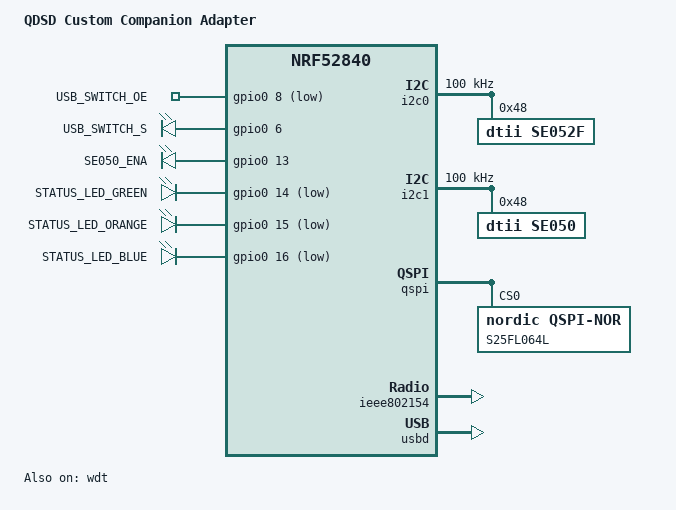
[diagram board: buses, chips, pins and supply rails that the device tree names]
/dts-v1/;

#include <nordic/nrf52840_qiaa.dtsi>
#include "qdsd-pinctrl.dtsi"
#include <zephyr/dt-bindings/input/input-event-codes.h>
#include <zephyr/dt-bindings/gpio/gpio.h>

/ {
	model = "QDSD Custom Companion Adapter";
	compatible = "dtii,qdsd";

	chosen {
		zephyr,sram = &sram0;
		zephyr,flash = &flash0;
		zephyr,code-partition = &slot0_partition;
		zephyr,console = &uart0;
		zephyr,shell-uart = &uart0;
		zephyr,uart-mcumgr = &uart0;
	};

	aliases {

		/* USB data switch — TS3USB221A (U4) */
		usb-oe = &usb_oe;
		usb-s = &usb_s;

		/* Status LED4 — common-anode RGB (LTST-C19FD1WT) */
		status-led-green = &status_led_green;
		status-led-orange = &status_led_orange;
		status-led-blue = &status_led_blue;

		/* SE050 ENA — IC2 pin 11, net SE2_EN */
		se2-en = &se2_en;

		/* Secure elements — I2C buses (see pinctrl header) */
		se052-i2c = &i2c0;
		se05x-i2c = &i2c0;  /* PlugNTrust nano-package alias */
		se050-i2c = &i2c1;

		watchdog0 = &wdt0;
	};

	/* ── GPIO outputs ────────────────────────────────────────────────── */

	gpio_outputs {
		compatible = "gpio-leds";

		usb_oe: usb_oe {
			/*
			 * P0.08 — TS3USB221A ~OE (GPIO_OE), active-LOW.
			 * Physical OE HIGH = switch disabled = USB data path blocked (safe).
			 * Physical OE LOW  = switch enabled  = document-hash path active.
			 */
			gpios = <&gpio0 8 GPIO_ACTIVE_LOW>;
			label = "USB_SWITCH_OE";
		};

		usb_s: usb_s {
			/*
			 * P0.06 — TS3USB221A S (GPIO_SEL), fixed at boot.
			 * LOW  = route to B-port (DSC side per schematic default).
			 * HIGH = route to A-port.
			 */
			gpios = <&gpio0 6 GPIO_ACTIVE_HIGH>;
			label = "USB_SWITCH_S";
		};

		se2_en: se2_en {
			/*
			 * P0.13 — SE050C (IC2) ENA, net SE2_EN, GPIO_ACTIVE_HIGH.
			 * The part stays in power-down until this pin is HIGH.
			 * There is no default pull-up on the schematic; firmware
			 * must drive it before any I2C1 traffic.
			 */
			gpios = <&gpio0 13 GPIO_ACTIVE_HIGH>;
			label = "SE050_ENA";
		};

		status_led_green: status_led_green {
			/* P0.14 — LED4 green channel */
			gpios = <&gpio0 14 GPIO_ACTIVE_LOW>;
			label = "STATUS_LED_GREEN";
		};

		status_led_orange: status_led_orange {
			/* P0.15 — LED4 orange channel */
			gpios = <&gpio0 15 GPIO_ACTIVE_LOW>;
			label = "STATUS_LED_ORANGE";
		};

		status_led_blue: status_led_blue {
			/* P0.16 — LED4 blue channel */
			gpios = <&gpio0 16 GPIO_ACTIVE_LOW>;
			label = "STATUS_LED_BLUE";
		};
	};
};

/* ── SoC peripherals ───────────────────────────────────────────────── */

&wdt {
	status = "okay";
};

&uicr {
	/* RESET button (S2) wired to nRESET — not a readable GPIO */
	gpio-as-nreset;
};

&gpiote {
	status = "okay";
};

&gpio0 {
	status = "okay";
};

&gpio1 {
	status = "okay";
};

/* SE052F (IC1) — subscriber signing secure element */
&i2c0 {
	compatible = "nordic,nrf-twi";
	status = "okay";
	pinctrl-0 = <&i2c0_default>;
	pinctrl-1 = <&i2c0_sleep>;
	pinctrl-names = "default", "sleep";
	clock-frequency = <I2C_BITRATE_STANDARD>;

	se052f: se052f@48 {
		compatible = "dtii,se052f";
		reg = <0x48>;
		label = "SE052F";
		status = "okay";
	};
};

/* SE050 (IC2) — Phase-1 bring-up is gated by CONFIG_QDSD_SE050. */
&i2c1 {
	compatible = "nordic,nrf-twi";
	status = "okay";
	pinctrl-0 = <&i2c1_default>;
	pinctrl-1 = <&i2c1_sleep>;
	pinctrl-names = "default", "sleep";
	clock-frequency = <I2C_BITRATE_STANDARD>;

	se050: se050@48 {
		compatible = "dtii,se050";
		reg = <0x48>;
		label = "SE050";
		status = "okay";
	};
};

/* S25FL064L (IC4) — external QSPI NOR flash, 64 Mbit */
&qspi {
	status = "okay";
	pinctrl-0 = <&qspi_default>;
	pinctrl-1 = <&qspi_sleep>;
	pinctrl-names = "default", "sleep";

	s25fl064l: s25fl064l@0 {
		compatible = "nordic,qspi-nor";
		reg = <0>;
		label = "S25FL064L";
		jedec-id = [01 60 17];
		size = <67108864>;
		sck-frequency = <8000000>;
		sck-delay = <62>;
		writeoc = "pp";        /* was "pp4io" */
		readoc = "fastread";   /* was "read4io" */
		has-dpd;
		t-enter-dpd = <10000>;
		t-exit-dpd = <35000>;
	};
};

&ieee802154 {
	status = "okay";
};

zephyr_udc0: &usbd {
	compatible = "nordic,nrf-usbd";
	status = "okay";
};

&flash0 {
	partitions {
		compatible = "fixed-partitions";
		#address-cells = <1>;
		#size-cells = <1>;

		boot_partition: partition@0 {
			label = "mcuboot";
			reg = <0x00000000 0x0000C000>;
		};

		slot0_partition: partition@c000 {
			label = "image-0";
			reg = <0x0000C000 0x00077000>;
		};

		slot1_partition: partition@83000 {
			label = "image-1";
			reg = <0x00083000 0x00075000>;
		};

		storage_partition: partition@f8000 {
			label = "storage";
			reg = <0x000f8000 0x00004000>;
		};

		qdsd_nvs_partition: partition@fc000 {
			label = "qdsd-nvs";
			reg = <0x000fc000 0x00004000>;
		};
	};
};
